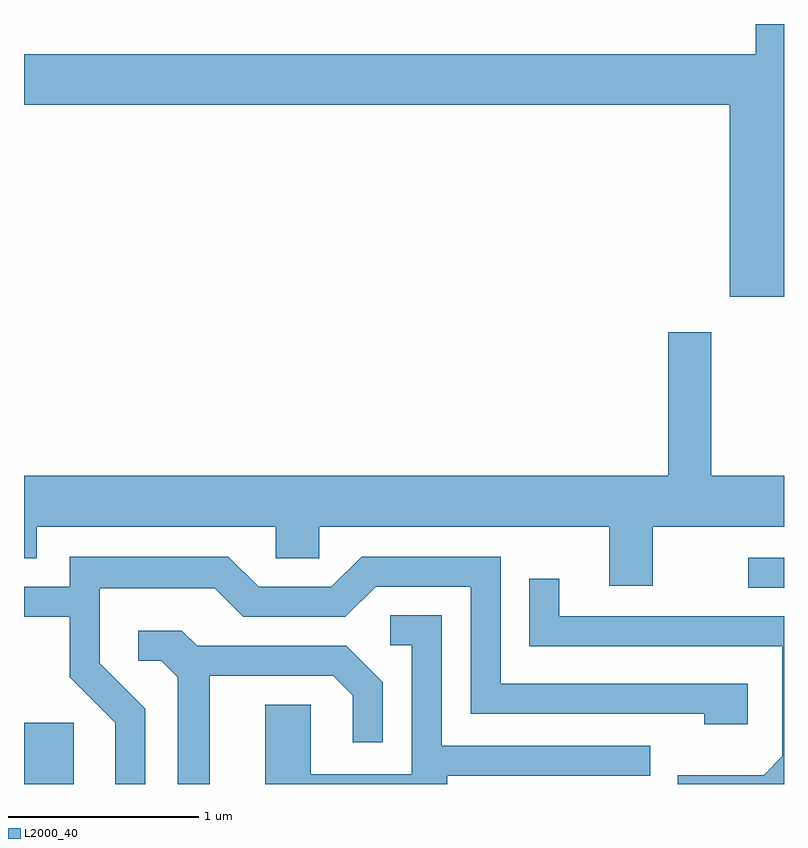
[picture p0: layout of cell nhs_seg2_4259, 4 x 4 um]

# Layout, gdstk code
import gdstk
lib = gdstk.Library(unit=1e-6, precision=1e-09)
def R(c, l, rs):  # rectangles x0, y0, x1, y1
    for r in rs: c.add(gdstk.rectangle(r[:2], r[2:], *l))
def P(c, l, *ps):  # polygons
    for p in ps: c.add(gdstk.Polygon(p, *l))
L2000_40 = (2000, 40)

nhs_seg2_4259 = lib.new_cell('nhs_seg2_4259')
R(nhs_seg2_4259, L2000_40, [(309.611,1095.802,309.874,1096.124), (313.423,1096.836,313.611,1096.994)])
P(nhs_seg2_4259, L2000_40, [(313.611,1099.802),(313.461,1099.802),(313.461,1099.644),(309.611,1099.644),(309.611,1099.376),(313.326,1099.376),(313.326,1098.366),(313.611,1098.366)],
  [(312.919,1097.156),(313.611,1097.156),(313.611,1097.424),(313.229,1097.424),(313.229,1098.179),(313.001,1098.179),(313.001,1097.424),(309.611,1097.424),(309.611,1096.991),(309.679,1096.991),(309.679,1097.156),(310.936,1097.156),(310.936,1096.991),(311.164,1096.991),(311.164,1097.156),(312.691,1097.156),(312.691,1096.846),(312.919,1096.846)],
  [(310.249,1096.197),(310.009,1096.437),(310.009,1096.831),(310.614,1096.831),(310.764,1096.681),(311.302,1096.681),(311.462,1096.841),(311.961,1096.841),(311.961,1096.171),(313.191,1096.171),(313.191,1096.116),(313.419,1096.116),(313.419,1096.329),(312.119,1096.329),(312.119,1096.999),(311.389,1096.999),(311.229,1096.839),(310.847,1096.839),(310.687,1096.999),(309.851,1096.999),(309.851,1096.839),(309.611,1096.839),(309.611,1096.681),(309.851,1096.681),(309.851,1096.364),(310.091,1096.124),(310.091,1095.802),(310.249,1095.802)],
  [(313.611,1096.684),(312.429,1096.684),(312.429,1096.883),(312.271,1096.883),(312.271,1096.526),(313.601,1096.526),(313.601,1095.947),(313.504,1095.849),(313.051,1095.849),(313.051,1095.802),(313.611,1095.802)],
  [(311.839,1095.846),(312.908,1095.846),(312.908,1096.004),(311.809,1096.004),(311.809,1096.689),(311.538,1096.689),(311.538,1096.531),(311.651,1096.531),(311.651,1095.854),(311.119,1095.854),(311.119,1096.219),(310.881,1096.219),(310.881,1095.802),(311.839,1095.802)],
  [(310.589,1096.371),(311.239,1096.371),(311.341,1096.269),(311.341,1096.023),(311.499,1096.023),(311.499,1096.337),(311.307,1096.529),(310.522,1096.529),(310.442,1096.609),(310.213,1096.609),(310.213,1096.451),(310.334,1096.451),(310.421,1096.364),(310.421,1095.802),(310.589,1095.802)])

lib.write_gds('nhs_seg2_4259.gds')
